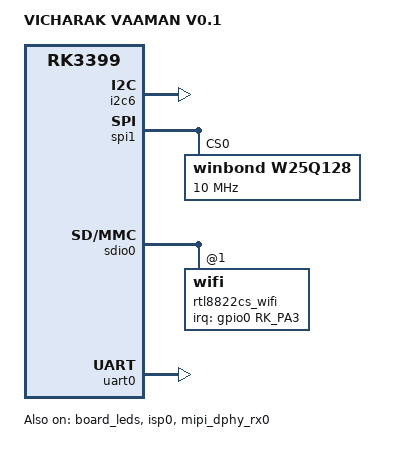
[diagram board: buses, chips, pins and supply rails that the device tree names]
// SPDX-License-Identifier: (GPL-2.0+ OR MIT)
/*
 * Copyright (c) 2022 VICHARAK IN
 */

/dts-v1/;
#include "rk3399-vaaman-01.dtsi"

/ {
	model = "VICHARAK VAAMAN V0.1";
	compatible = "vicharak,vaaman", "vicharak,vaaman-01", "rockchip,rk3399";

	aliases {
		mmc2 = &sdio0;
	};
};

&board_leds {
	status = "okay";

	board-led1 {
		status = "okay";
	};

	board-led2 {
		status = "okay";
	};
};


&i2c6 {
	status = "okay";
};


&isp0 {
	status = "okay";
};

&isp0_mmu {
	status = "okay";
};

&mipi_dphy_rx0 {
	status = "okay";
};

&spi1 {
	status = "okay";

	w25q128:w25q128-flash@0 {
		status = "okay";
		compatible = "winbond,w25q128", "jedec,spi-nor";
		reg =<0>;
		spi-max-frequency = <10000000>;
	};

/*	w25q64:w25q64-flash@1 {
		status = "okay";
		//cs-gpios = <&gpio4 RK_PD6 GPIO_ACTIVE_HIGH>;
		compatible = "winbond,w25q64dw" , "jedec,spi-nor";
		reg =<1>;
		spi-max-frequency = <10000000>;
	};*/
};

&sdio0 {
	status = "okay";

	rtl8822cs_wifi: wifi@1 {
		reg		= <1>;
		interrupt-parent = <&gpio0>;
		interrupts	= <RK_PA3 IRQ_TYPE_LEVEL_HIGH>;
		interrupt-names	= "host-wake";
		pinctrl-names	= "default";
		pinctrl-0	= <&wifi_host_wake_l>;
	};
};

&uart0 {
	status = "okay";
};
